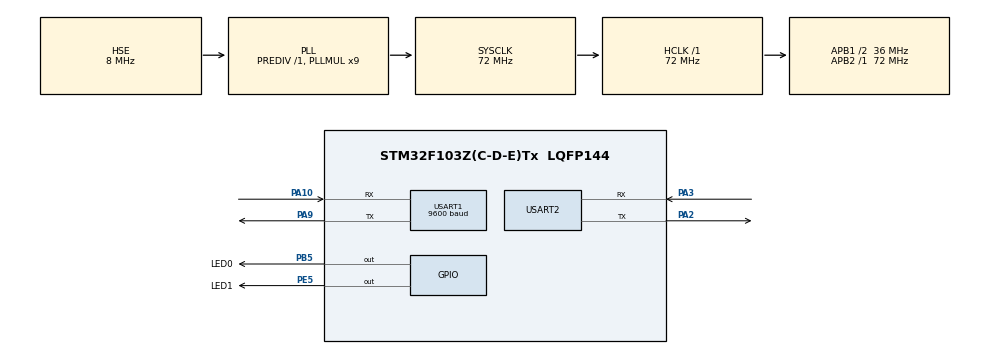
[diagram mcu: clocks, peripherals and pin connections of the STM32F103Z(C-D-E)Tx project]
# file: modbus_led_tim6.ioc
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Mcu.Family=STM32F1
Mcu.Name=STM32F103Z(C-D-E)Tx
Mcu.Package=LQFP144
NVIC.PriorityGroup=NVIC_PRIORITYGROUP_4
NVIC.TIM6_IRQn=true\:0\:0\:false\:false\:true\:true\:true\:true
NVIC.USART1_IRQn=true\:0\:0\:false\:false\:true\:true\:true\:true
OSC_IN.Mode=HSE-External-Oscillator
OSC_IN.Signal=RCC_OSC_IN
OSC_OUT.Mode=HSE-External-Oscillator
OSC_OUT.Signal=RCC_OSC_OUT
PA10.Mode=Asynchronous
PA10.Signal=USART1_RX
PA13.Mode=Serial_Wire
PA13.Signal=SYS_JTMS-SWDIO
PA14.Mode=Serial_Wire
PA14.Signal=SYS_JTCK-SWCLK
PA2.Mode=Asynchronous
PA2.Signal=USART2_TX
PA3.Mode=Asynchronous
PA3.Signal=USART2_RX
PA9.Mode=Asynchronous
PA9.Signal=USART1_TX
PB5.GPIO_Label=LED0
PB5.PinState=GPIO_PIN_SET
PB5.Signal=GPIO_Output
PC14-OSC32_IN.Mode=LSE-External-Oscillator
PC14-OSC32_IN.Signal=RCC_OSC32_IN
PC15-OSC32_OUT.Mode=LSE-External-Oscillator
PC15-OSC32_OUT.Signal=RCC_OSC32_OUT
PE5.GPIO_Label=LED1
PE5.PinState=GPIO_PIN_SET
PE5.Signal=GPIO_Output
ProjectManager.HeapSize=0x200
ProjectManager.StackSize=0x400
ProjectManager.TargetToolchain=MDK-ARM V5.32
RCC.AHBFreq_Value=72000000
RCC.APB1CLKDivider=RCC_HCLK_DIV2
RCC.APB1Freq_Value=36000000
RCC.APB1TimFreq_Value=72000000
RCC.APB2Freq_Value=72000000
RCC.APB2TimFreq_Value=72000000
RCC.HCLKFreq_Value=72000000
RCC.PLLMUL=RCC_PLL_MUL9
RCC.PLLSourceVirtual=RCC_PLLSOURCE_HSE
RCC.SYSCLKFreq_VALUE=72000000
RCC.SYSCLKSource=RCC_SYSCLKSOURCE_PLLCLK
RCC.USBFreq_Value=72000000
TIM6.Period=39
TIM6.Prescaler=7199
USART1.BaudRate=9600
USART1.VirtualMode=VM_ASYNC
USART2.VirtualMode=VM_ASYNC
VP_TIM6_VS_ClockSourceINT.Mode=Enable_Timer
VP_TIM6_VS_OPM.Mode=OPM_bit
board=custom

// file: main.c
/* USER CODE BEGIN Header */
/**
  ******************************************************************************
  * @file           : main.c
  * @brief          : Main program body
  ******************************************************************************
  * @attention
  *
  * Copyright (c) 2025 STMicroelectronics.
  * All rights reserved.
  *
  * This software is licensed under terms that can be found in the LICENSE file
  * in the root directory of this software component.
  * If no LICENSE file comes with this software, it is provided AS-IS.
  *
  ******************************************************************************
  */
/* USER CODE END Header */
#include "main.h"
#include "tim.h"
#include "usart.h"
#include "gpio.h"

/* USER CODE BEGIN Includes */
#include <stdint.h>
#include <stdbool.h>
#include <string.h>
#include <stdio.h>

/* USER CODE END Includes */

/* USER CODE BEGIN PD */
#define MODBUS_SLAVE_ADDR 0x01

/* USER CODE END PD */

/* USER CODE BEGIN PV */
uint8_t rx_byte;
uint8_t rx_buffer[256];
uint16_t rx_index = 0;

uint16_t value = 100;
bool led_status[2] = {false, false};

/* USER CODE END PV */

void SystemClock_Config(void);
/* USER CODE BEGIN PFP */
void parse_modbus_frame(uint8_t *frame, uint16_t length);
void pack_modbus_coils(const bool *coils, uint16_t start_addr, uint16_t coil_count, uint8_t *packed_bytes);
uint16_t ModRTU_CRC(uint8_t *buf, int len);

/* USER CODE END PFP */

int main(void)
{

  /* MCU Configuration--------------------------------------------------------*/

  /* Reset of all peripherals, Initializes the Flash interface and the Systick. */
  HAL_Init();

  /* Configure the system clock */
  SystemClock_Config();

  /* Initialize all configured peripherals */
  MX_GPIO_Init();
  MX_USART1_UART_Init();
  MX_TIM6_Init();
  MX_USART2_UART_Init();
  /* USER CODE BEGIN 2 */
  HAL_UART_Receive_IT(&huart1, &rx_byte, 1);  // Start receiving
  __HAL_TIM_SET_COUNTER(&htim6, 0);
  HAL_TIM_Base_Stop_IT(&htim6);

  /* USER CODE END 2 */

  /* Infinite loop */
  while (1)
  {

    /* USER CODE BEGIN 3 */
    value += 100;
    HAL_Delay(200);
  }
  /* USER CODE END 3 */
}

void SystemClock_Config(void)
{
  RCC_OscInitTypeDef RCC_OscInitStruct = {0};
  RCC_ClkInitTypeDef RCC_ClkInitStruct = {0};

  /** Initializes the RCC Oscillators according to the specified parameters
  * in the RCC_OscInitTypeDef structure.
  */
  RCC_OscInitStruct.OscillatorType = RCC_OSCILLATORTYPE_HSE;
  RCC_OscInitStruct.HSEState = RCC_HSE_ON;
  RCC_OscInitStruct.HSEPredivValue = RCC_HSE_PREDIV_DIV1;
  RCC_OscInitStruct.HSIState = RCC_HSI_ON;
  RCC_OscInitStruct.PLL.PLLState = RCC_PLL_ON;
  RCC_OscInitStruct.PLL.PLLSource = RCC_PLLSOURCE_HSE;
  RCC_OscInitStruct.PLL.PLLMUL = RCC_PLL_MUL9;
  if (HAL_RCC_OscConfig(&RCC_OscInitStruct) != HAL_OK)
  {
    Error_Handler();
  }

  /** Initializes the CPU, AHB and APB buses clocks
  */
  RCC_ClkInitStruct.ClockType = RCC_CLOCKTYPE_HCLK|RCC_CLOCKTYPE_SYSCLK
                              |RCC_CLOCKTYPE_PCLK1|RCC_CLOCKTYPE_PCLK2;
  RCC_ClkInitStruct.SYSCLKSource = RCC_SYSCLKSOURCE_PLLCLK;
  RCC_ClkInitStruct.AHBCLKDivider = RCC_SYSCLK_DIV1;
  RCC_ClkInitStruct.APB1CLKDivider = RCC_HCLK_DIV2;
  RCC_ClkInitStruct.APB2CLKDivider = RCC_HCLK_DIV1;

  if (HAL_RCC_ClockConfig(&RCC_ClkInitStruct, FLASH_LATENCY_2) != HAL_OK)
  {
    Error_Handler();
  }
}

/* USER CODE BEGIN 4 */
void HAL_UART_RxCpltCallback(UART_HandleTypeDef *huart)
{
    if (huart->Instance == USART1)
    {
        rx_buffer[rx_index++] = rx_byte;

        // Restart TIM6 to count silence interval
        __HAL_TIM_SET_COUNTER(&htim6, 0);
        HAL_TIM_Base_Start_IT(&htim6);

        // Restart receiving next byte
        HAL_UART_Receive_IT(&huart1, &rx_byte, 1);
    }
}

void HAL_TIM_PeriodElapsedCallback(TIM_HandleTypeDef *htim)
{
    if (htim->Instance == TIM6)
    {
        // Stop timer until next UART reception
        HAL_TIM_Base_Stop_IT(&htim6);

        // Frame complete, process Modbus frame
        parse_modbus_frame(rx_buffer, rx_index);

        // Reset index
        rx_index = 0;
    }
}

void parse_modbus_frame(uint8_t *frame, uint16_t length)
{
    // Minimum Modbus RTU length
    if (length < 4) return;

    uint8_t slave_addr = frame[0];
    uint8_t function = frame[1];
    uint16_t crc_received = (frame[length - 2] | (frame[length - 1] << 8));
    uint16_t crc_calculated = ModRTU_CRC(frame, length - 2);
    if (crc_received != crc_calculated) return;

    if (slave_addr != MODBUS_SLAVE_ADDR) return;

    switch (function)
    {
        case (0x01):
        {
            // Ensure enough bytes for address and content
            if (length < 8) goto flg_modbus_illegal;

            uint16_t start_addr = (frame[2] << 8) | frame[3];
            uint16_t coil_count = (frame[4] << 8) | frame[5];

            if (start_addr + coil_count - 1 > 0x0001) goto flg_modbus_illegal;
            uint8_t packed_byte_count = (coil_count + 7) / 8;

            uint8_t packed_byte[packed_byte_count];
            pack_modbus_coils(led_status, start_addr, coil_count, packed_byte);

            uint8_t response[6] = {
                MODBUS_SLAVE_ADDR,      // Slave addr
                0x01,                   // Func code
                packed_byte_count,      // byte count
                packed_byte[0]          // Coil status
            };

            uint16_t crc = ModRTU_CRC(response, 4);
            response[4] = crc & 0xFF;
            response[5] = (crc >> 8) & 0xFF;
            HAL_UART_Transmit(&huart1, response, 6, HAL_MAX_DELAY);

//            if (start_addr == 0x0000)
//            {
//                uint8_t response[6] = {
//                    MODBUS_SLAVE_ADDR, 0x01, 0x01, led_status[0]
//                };
//                uint16_t crc = ModRTU_CRC(response, 4);
//                response[4] = crc & 0xFF;
//                response[5] = (crc >> 8) & 0xFF;
//                HAL_UART_Transmit(&huart1, response, 6, HAL_MAX_DELAY);
//            }
//            else if (start_addr == 0x0001)
//            {
//                uint8_t response[6] = {
//                    MODBUS_SLAVE_ADDR, 0x01, 0x01, led_status[1]
//                };
//                uint16_t crc = ModRTU_CRC(response, 4);
//                response[4] = crc & 0xFF;
//                response[5] = (crc >> 8) & 0xFF;
//                HAL_UART_Transmit(&huart1, response, 6, HAL_MAX_DELAY);
//            }
//            else goto flg_modbus_illegal;
            break;
        }

        case (0x03):
        {
            uint8_t response[7] = {
                MODBUS_SLAVE_ADDR, 0x03, 0x02,
                (value >> 8) & 0xFF,  // High byte
                value & 0xFF          // Low byte
            };
            uint16_t crc = ModRTU_CRC(response, 5);
            response[5] = crc & 0xFF;
            response[6] = (crc >> 8) & 0xFF;
            HAL_UART_Transmit(&huart1, response, 7, HAL_MAX_DELAY);
            break;
        }

        case (0x05):
        {
            // Ensure enough bytes for address and content
            if (length < 8) break;

            uint16_t start_addr = (frame[2] << 8) | frame[3];
            uint16_t write_cont = (frame[4] << 8) | frame[5];
//            uint8_t start_addr_hi = (start_addr >> 8) & 0xFF;
//            uint8_t start_addr_lo = start_addr & 0xFF;
//            uint8_t write_cont_hi = (write_cont >> 8) & 0xFF;
//            uint8_t write_cont_lo = write_cont & 0xFF;

            if (start_addr == 0x0000)
            {
                if (write_cont == 0xFF00)
                {
                    led_status[0] = 1;
                    HAL_GPIO_WritePin(LED0_GPIO_Port, LED0_Pin, GPIO_PIN_RESET);
                    HAL_UART_Transmit(&huart1, frame, 8, HAL_MAX_DELAY);
                }
                else if (write_cont == 0x0000)
                {
                    led_status[0] = 0;
                    HAL_GPIO_WritePin(LED0_GPIO_Port, LED0_Pin, GPIO_PIN_SET);
                    HAL_UART_Transmit(&huart1, frame, 8, HAL_MAX_DELAY);
                }
                else goto flg_modbus_illegal;
            }
            else if (start_addr == 0x0001)
            {
                if (write_cont == 0xFF00)
                {
                    led_status[1] = 1;
                    HAL_GPIO_WritePin(LED1_GPIO_Port, LED1_Pin, GPIO_PIN_RESET);
                    HAL_UART_Transmit(&huart1, frame, 8, HAL_MAX_DELAY);
                }
                else if (write_cont == 0x0000)
                {
                    led_status[1] = 0;
                    HAL_GPIO_WritePin(LED1_GPIO_Port, LED1_Pin, GPIO_PIN_SET);
                    HAL_UART_Transmit(&huart1, frame, 8, HAL_MAX_DELAY);
                }
                else goto flg_modbus_illegal;
            }
            else goto flg_modbus_illegal;
            break;
        }

        default:
        flg_modbus_illegal:
        {
            // Unsupported function: send exception response (Illegal Function = 0x01)
            uint8_t exception[5];
            exception[0] = MODBUS_SLAVE_ADDR;
            exception[1] = function | 0x80;  // Set MSB for exception
            exception[2] = 0x01;             // Exception Code: Illegal Function
            uint16_t crc = ModRTU_CRC(exception, 3);
            exception[3] = crc & 0xFF;
            exception[4] = (crc >> 8) & 0xFF;
            HAL_UART_Transmit(&huart1, exception, 5, HAL_MAX_DELAY);
        }
    }
}

void pack_modbus_coils(const bool *coils, uint16_t start_addr, uint16_t coil_count, uint8_t *output_bytes)
{
    memset(output_bytes, 0, (coil_count + 7) / 8);  // Clear output

    for (uint16_t i = start_addr, j = 0; i < start_addr + coil_count; i++, j++) {
        if (coils[i]) {
            output_bytes[j / 8] |= (1 << (j % 8));  // LSB-first bit order
        }
//        printf("%d, %d\n", i, coils[i]);
    }
}

uint16_t ModRTU_CRC(uint8_t *buf, int len)
{
    uint16_t crc = 0xFFFF;
    for (int pos = 0; pos < len; pos++)
    {
        crc ^= (uint16_t)buf[pos];
        for (int i = 8; i != 0; i--)
        {
            if ((crc & 0x0001) != 0)
            {
                crc >>= 1;
                crc ^= 0xA001;
            }
            else
            {
                crc >>= 1;
            }
        }
    }
    return crc;
}

int fputc(int ch, FILE *f) {
    HAL_UART_Transmit(&huart2, (uint8_t *)&ch, 1, HAL_MAX_DELAY);
    return ch;
}

/* USER CODE END 4 */

void Error_Handler(void)
{
  __disable_irq();
  while (1)
  {
  }
}
